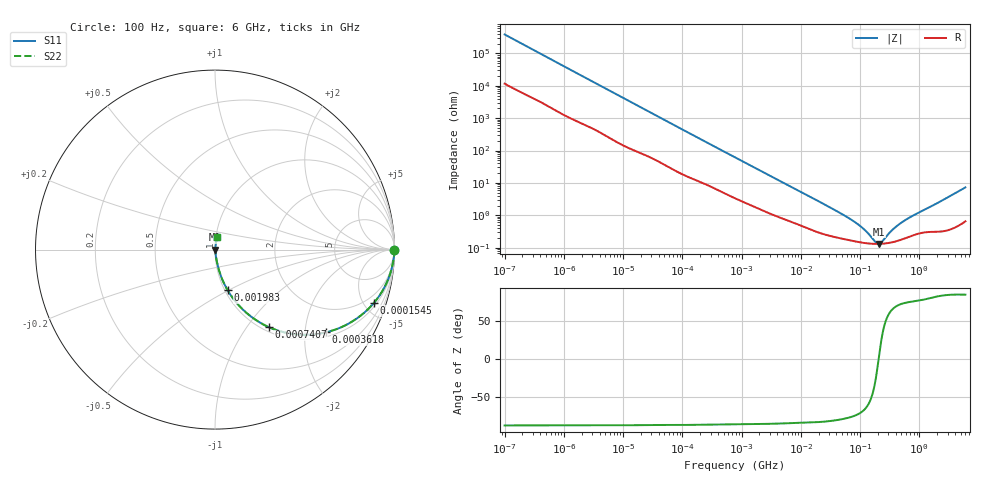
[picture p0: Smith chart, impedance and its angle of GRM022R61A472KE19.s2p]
!Murata Part Number: GRM022R61A472KE19
!These Parameters are Measured in Series Mode Connection
!Data Generated on Mar 30, 2021
!  o--ll--o
!Port1  Port2
!  o------o
!Operation Temp=25[degC], DC Bias Voltage=0[V]
!Freq. Start=100[Hz] Stop=6[GHz] 401[Steps]
# Hz S RI R 50
!Freq.(Hz) S11(Real) S11(Imag) S21(Real) S21(Imag) S12(Real) S12(Imag) S22(Real) S22(Imag)
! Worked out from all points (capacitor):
!   401 points, 100 Hz to 6 GHz, reference 50 ohm
!   read as one part in series: C = 4.1 nF near 109 Hz
!   lowest |Z| = 131 mohm at 208.8 MHz (marker M1)
!   series resonance near 206 MHz, so ESL is about 150 pH
!   S11 on the Smith chart (normalised r, x): 100 Hz: open; 154.5 kHz: 1.26, -5.86; 361.8 kHz: 1.13, -2.57; 740.7 kHz: 1.07, -1.28; 1.983 MHz: 1.03, -0.50; 6 GHz: 1.01, +0.15
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100  1 -0.000259  7.9e-06 0.000259  7.9e-06 0.000259  1 -0.000259
2008  0.9998 -0.00491  0.00019 0.00491  0.00019 0.00491  0.9998 -0.00491
12592  0.9981 -0.0295  0.0019 0.0295  0.0019 0.0295  0.9981 -0.0295
40335  0.9879 -0.0904  0.0121 0.0904  0.0121 0.0904  0.9879 -0.0904
154540  0.8854 -0.2971  0.1146 0.2971  0.1146 0.2971  0.8854 -0.2971
231233  0.7862 -0.3866  0.2138 0.3866  0.2138 0.3866  0.7862 -0.3866
361830  0.6177 -0.4611  0.3823 0.4611  0.3823 0.4611  0.6177 -0.4611
740679  0.3024 -0.433  0.6976 0.433  0.6976 0.433  0.3024 -0.433
774597  0.2855 -0.4252  0.7145 0.4252  0.7145 0.4252  0.2855 -0.4252
1212075  0.1517 -0.3307  0.8483 0.3307  0.8483 0.3307  0.1517 -0.3307
1983483  0.0709 -0.227  0.9291 0.227  0.9291 0.227  0.0709 -0.227
4856642  0.0186 -0.102  0.9814 0.102  0.9814 0.102  0.0186 -0.102
1.555665e7  0.00461 -0.0341  0.9954 0.0341  0.9954 0.0341  0.00461 -0.0341
7.797396e7  0.00163 -0.00634  0.9984 0.00634  0.9984 0.00634  0.00163 -0.00634
1.220122e8  0.00139 -0.00313  0.9986 0.00313  0.9986 0.00313  0.00139 -0.00313
1.825626e8  0.0013 -0.000699  0.9987 0.000699  0.9987 0.000699  0.0013 -0.000699
2.088084e8  0.00131 7.85e-05  0.9987 -7.85e-05  0.9987 -7.85e-05  0.00131 7.85e-05
2.388273e8  0.00132 0.000858  0.9987 -0.000858  0.9987 -0.000858  0.00132 0.000858
3.124326e8  0.00141 0.00247  0.9986 -0.00247  0.9986 -0.00247  0.00141 0.00247
4.274388e8  0.00163 0.00452  0.9984 -0.00452  0.9984 -0.00452  0.00163 0.00452
6.395615e8  0.00214 0.00762  0.9979 -0.00762  0.9979 -0.00762  0.00214 0.00762
6e9  0.0116 0.0713  0.9884 -0.0713  0.9884 -0.0713  0.0116 0.0713
